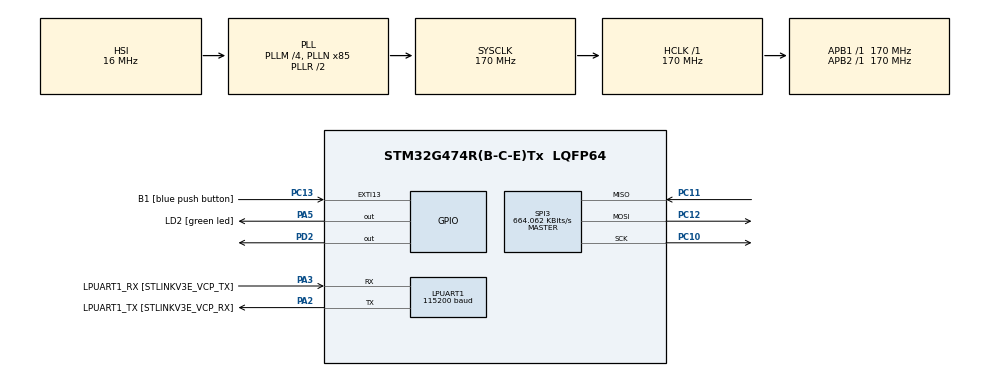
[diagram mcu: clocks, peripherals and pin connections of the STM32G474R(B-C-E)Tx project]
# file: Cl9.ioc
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LPUART1.BaudRate=115200
LPUART1.WordLength=UART_WORDLENGTH_8B
Mcu.Family=STM32G4
Mcu.Name=STM32G474R(B-C-E)Tx
Mcu.Package=LQFP64
NVIC.EXTI15_10_IRQn=true\:0\:0\:false\:false\:true\:true\:true\:true
NVIC.PriorityGroup=NVIC_PRIORITYGROUP_4
NVIC.SPI3_IRQn=true\:0\:0\:false\:false\:true\:true\:true\:true
PA13.GPIO_Label=T_SWDIO
PA13.Mode=Serial_Wire
PA13.Signal=SYS_JTMS-SWDIO
PA14.GPIO_Label=T_SWCLK
PA14.Mode=Serial_Wire
PA14.Signal=SYS_JTCK-SWCLK
PA2.GPIO_Label=LPUART1_TX [STLINKV3E_VCP_RX]
PA2.Mode=Asynchronous
PA2.Signal=LPUART1_TX
PA3.GPIO_Label=LPUART1_RX [STLINKV3E_VCP_TX]
PA3.Mode=Asynchronous
PA3.Signal=LPUART1_RX
PA5.GPIO_Label=LD2 [green led]
PA5.Signal=GPIO_Output
PB3.GPIO_Label=T_SWO
PB3.Signal=SYS_JTDO-SWO
PC10.Mode=Full_Duplex_Master
PC10.Signal=SPI3_SCK
PC11.Mode=Full_Duplex_Master
PC11.Signal=SPI3_MISO
PC12.Mode=Full_Duplex_Master
PC12.Signal=SPI3_MOSI
PC13.GPIO_Label=B1 [blue push button]
PC13.Signal=GPXTI13
PC14-OSC32_IN.Mode=LSE-External-Oscillator
PC14-OSC32_IN.Signal=RCC_OSC32_IN
PC15-OSC32_OUT.Mode=LSE-External-Oscillator
PC15-OSC32_OUT.Signal=RCC_OSC32_OUT
PD2.PinState=GPIO_PIN_SET
PD2.Signal=GPIO_Output
PF0-OSC_IN.Mode=HSE-External-Oscillator
PF0-OSC_IN.Signal=RCC_OSC_IN
PF1-OSC_OUT.Mode=HSE-External-Oscillator
PF1-OSC_OUT.Signal=RCC_OSC_OUT
ProjectManager.HeapSize=0x200
ProjectManager.StackSize=0x400
ProjectManager.TargetToolchain=STM32CubeIDE
RCC.ADC12Freq_Value=170000000
RCC.ADC345Freq_Value=170000000
RCC.AHBFreq_Value=170000000
RCC.APB1Freq_Value=170000000
RCC.APB1TimFreq_Value=170000000
RCC.APB2Freq_Value=170000000
RCC.APB2TimFreq_Value=170000000
RCC.CortexFreq_Value=170000000
RCC.EXTERNAL_CLOCK_VALUE=12288000
RCC.HCLKFreq_Value=170000000
RCC.HSE_VALUE=24000000
RCC.HSI48_VALUE=48000000
RCC.HSI_VALUE=16000000
RCC.PLLM=RCC_PLLM_DIV4
RCC.PLLN=85
RCC.RTCClockSelection=RCC_RTCCLKSOURCE_LSE
RCC.SYSCLKFreq_VALUE=170000000
RCC.SYSCLKSource=RCC_SYSCLKSOURCE_PLLCLK
RCC.USBFreq_Value=170000000
RCC.VCOOutputFreq_Value=340000000
SPI3.BaudRatePrescaler=SPI_BAUDRATEPRESCALER_256
SPI3.CLKPhase=SPI_PHASE_1EDGE
SPI3.CLKPolarity=SPI_POLARITY_LOW
SPI3.CalculateBaudRate=664.062 KBits/s
SPI3.DataSize=SPI_DATASIZE_8BIT
SPI3.Direction=SPI_DIRECTION_2LINES
SPI3.Mode=SPI_MODE_MASTER
SPI3.VirtualType=VM_MASTER
VP_SYS_VS_DBSignals.Mode=DisableDeadBatterySignals
board=NUCLEO-G474RE

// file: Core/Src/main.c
/* USER CODE BEGIN Header */
/**
  ******************************************************************************
  * @file           : main.c
  * @brief          : Main program body
  ******************************************************************************
  * @attention
  *
  * Copyright (c) 2024 STMicroelectronics.
  * All rights reserved.
  *
  * This software is licensed under terms that can be found in the LICENSE file
  * in the root directory of this software component.
  * If no LICENSE file comes with this software, it is provided AS-IS.
  *
  ******************************************************************************
  */
/* USER CODE END Header */
#include "main.h"

UART_HandleTypeDef hlpuart1;

SPI_HandleTypeDef hspi3;

/* USER CODE BEGIN PV */
uint8_t SPIRx[10];
uint8_t SPITx[10];
/* USER CODE END PV */

void SystemClock_Config(void);
static void MX_GPIO_Init(void);
static void MX_LPUART1_UART_Init(void);
static void MX_SPI3_Init(void);

int main(void)
{

  /* MCU Configuration--------------------------------------------------------*/

  /* Reset of all peripherals, Initializes the Flash interface and the Systick. */
  HAL_Init();

  /* Configure the system clock */
  SystemClock_Config();

  /* Initialize all configured peripherals */
  MX_GPIO_Init();
  MX_LPUART1_UART_Init();
  MX_SPI3_Init();
  /* USER CODE BEGIN 2 */
  SPITxRx_Setup();

  /* USER CODE END 2 */

  /* Infinite loop */
  while (1)
  {

    /* USER CODE BEGIN 3 */
	  SPITxRx_readIO();
  }
  /* USER CODE END 3 */
}

void SystemClock_Config(void)
{
  RCC_OscInitTypeDef RCC_OscInitStruct = {0};
  RCC_ClkInitTypeDef RCC_ClkInitStruct = {0};

  /** Configure the main internal regulator output voltage
  */
  HAL_PWREx_ControlVoltageScaling(PWR_REGULATOR_VOLTAGE_SCALE1_BOOST);

  /** Initializes the RCC Oscillators according to the specified parameters
  * in the RCC_OscInitTypeDef structure.
  */
  RCC_OscInitStruct.OscillatorType = RCC_OSCILLATORTYPE_HSI;
  RCC_OscInitStruct.HSIState = RCC_HSI_ON;
  RCC_OscInitStruct.HSICalibrationValue = RCC_HSICALIBRATION_DEFAULT;
  RCC_OscInitStruct.PLL.PLLState = RCC_PLL_ON;
  RCC_OscInitStruct.PLL.PLLSource = RCC_PLLSOURCE_HSI;
  RCC_OscInitStruct.PLL.PLLM = RCC_PLLM_DIV4;
  RCC_OscInitStruct.PLL.PLLN = 85;
  RCC_OscInitStruct.PLL.PLLP = RCC_PLLP_DIV2;
  RCC_OscInitStruct.PLL.PLLQ = RCC_PLLQ_DIV2;
  RCC_OscInitStruct.PLL.PLLR = RCC_PLLR_DIV2;
  if (HAL_RCC_OscConfig(&RCC_OscInitStruct) != HAL_OK)
  {
    Error_Handler();
  }

  /** Initializes the CPU, AHB and APB buses clocks
  */
  RCC_ClkInitStruct.ClockType = RCC_CLOCKTYPE_HCLK|RCC_CLOCKTYPE_SYSCLK
                              |RCC_CLOCKTYPE_PCLK1|RCC_CLOCKTYPE_PCLK2;
  RCC_ClkInitStruct.SYSCLKSource = RCC_SYSCLKSOURCE_PLLCLK;
  RCC_ClkInitStruct.AHBCLKDivider = RCC_SYSCLK_DIV1;
  RCC_ClkInitStruct.APB1CLKDivider = RCC_HCLK_DIV1;
  RCC_ClkInitStruct.APB2CLKDivider = RCC_HCLK_DIV1;

  if (HAL_RCC_ClockConfig(&RCC_ClkInitStruct, FLASH_LATENCY_4) != HAL_OK)
  {
    Error_Handler();
  }
}

static void MX_LPUART1_UART_Init(void)
{

  hlpuart1.Instance = LPUART1;
  hlpuart1.Init.BaudRate = 115200;
  hlpuart1.Init.WordLength = UART_WORDLENGTH_8B;
  hlpuart1.Init.StopBits = UART_STOPBITS_1;
  hlpuart1.Init.Parity = UART_PARITY_NONE;
  hlpuart1.Init.Mode = UART_MODE_TX_RX;
  hlpuart1.Init.HwFlowCtl = UART_HWCONTROL_NONE;
  hlpuart1.Init.OneBitSampling = UART_ONE_BIT_SAMPLE_DISABLE;
  hlpuart1.Init.ClockPrescaler = UART_PRESCALER_DIV1;
  hlpuart1.AdvancedInit.AdvFeatureInit = UART_ADVFEATURE_NO_INIT;
  if (HAL_UART_Init(&hlpuart1) != HAL_OK)
  {
    Error_Handler();
  }
  if (HAL_UARTEx_SetTxFifoThreshold(&hlpuart1, UART_TXFIFO_THRESHOLD_1_8) != HAL_OK)
  {
    Error_Handler();
  }
  if (HAL_UARTEx_SetRxFifoThreshold(&hlpuart1, UART_RXFIFO_THRESHOLD_1_8) != HAL_OK)
  {
    Error_Handler();
  }
  if (HAL_UARTEx_DisableFifoMode(&hlpuart1) != HAL_OK)
  {
    Error_Handler();
  }

}

static void MX_SPI3_Init(void)
{

  /* SPI3 parameter configuration*/
  hspi3.Instance = SPI3;
  hspi3.Init.Mode = SPI_MODE_MASTER;
  hspi3.Init.Direction = SPI_DIRECTION_2LINES;
  hspi3.Init.DataSize = SPI_DATASIZE_8BIT;
  hspi3.Init.CLKPolarity = SPI_POLARITY_LOW;
  hspi3.Init.CLKPhase = SPI_PHASE_1EDGE;
  hspi3.Init.NSS = SPI_NSS_SOFT;
  hspi3.Init.BaudRatePrescaler = SPI_BAUDRATEPRESCALER_256;
  hspi3.Init.FirstBit = SPI_FIRSTBIT_MSB;
  hspi3.Init.TIMode = SPI_TIMODE_DISABLE;
  hspi3.Init.CRCCalculation = SPI_CRCCALCULATION_DISABLE;
  hspi3.Init.CRCPolynomial = 7;
  hspi3.Init.CRCLength = SPI_CRC_LENGTH_DATASIZE;
  hspi3.Init.NSSPMode = SPI_NSS_PULSE_ENABLE;
  if (HAL_SPI_Init(&hspi3) != HAL_OK)
  {
    Error_Handler();
  }

}

static void MX_GPIO_Init(void)
{
  GPIO_InitTypeDef GPIO_InitStruct = {0};

  /* GPIO Ports Clock Enable */
  __HAL_RCC_GPIOC_CLK_ENABLE();
  __HAL_RCC_GPIOF_CLK_ENABLE();
  __HAL_RCC_GPIOA_CLK_ENABLE();
  __HAL_RCC_GPIOD_CLK_ENABLE();
  __HAL_RCC_GPIOB_CLK_ENABLE();

  /*Configure GPIO pin Output Level */
  HAL_GPIO_WritePin(LD2_GPIO_Port, LD2_Pin, GPIO_PIN_RESET);

  /*Configure GPIO pin Output Level */
  HAL_GPIO_WritePin(GPIOD, GPIO_PIN_2, GPIO_PIN_SET);

  /*Configure GPIO pin : B1_Pin */
  GPIO_InitStruct.Pin = B1_Pin;
  GPIO_InitStruct.Mode = GPIO_MODE_IT_RISING;
  GPIO_InitStruct.Pull = GPIO_NOPULL;
  HAL_GPIO_Init(B1_GPIO_Port, &GPIO_InitStruct);

  /*Configure GPIO pin : LD2_Pin */
  GPIO_InitStruct.Pin = LD2_Pin;
  GPIO_InitStruct.Mode = GPIO_MODE_OUTPUT_PP;
  GPIO_InitStruct.Pull = GPIO_NOPULL;
  GPIO_InitStruct.Speed = GPIO_SPEED_FREQ_LOW;
  HAL_GPIO_Init(LD2_GPIO_Port, &GPIO_InitStruct);

  /*Configure GPIO pin : PD2 */
  GPIO_InitStruct.Pin = GPIO_PIN_2;
  GPIO_InitStruct.Mode = GPIO_MODE_OUTPUT_PP;
  GPIO_InitStruct.Pull = GPIO_NOPULL;
  GPIO_InitStruct.Speed = GPIO_SPEED_FREQ_LOW;
  HAL_GPIO_Init(GPIOD, &GPIO_InitStruct);

  /* EXTI interrupt init*/
  HAL_NVIC_SetPriority(EXTI15_10_IRQn, 0, 0);
  HAL_NVIC_EnableIRQ(EXTI15_10_IRQn);

}

/* USER CODE BEGIN 4 */
void SPITxRx_Setup()
{
//CS pulse
HAL_GPIO_WritePin(GPIOD, GPIO_PIN_2, 0); // CS Select
HAL_Delay(1);
HAL_GPIO_WritePin(GPIOD, GPIO_PIN_2, 1); // CS deSelect
HAL_Delay(1);
}
void SPITxRx_readIO()
{
if(HAL_GPIO_ReadPin(GPIOD,GPIO_PIN_2))
{
HAL_GPIO_WritePin(GPIOD, GPIO_PIN_2, 0); // CS Select
SPITx[0] = 0b01000001;
SPITx[1] = 0x12;
SPITx[2] = 0;
SPITx[3] = 0;
HAL_SPI_TransmitReceive_IT(&hspi3, SPITx, SPIRx, 4);
}
}
void HAL_SPI_TxRxCpltCallback(SPI_HandleTypeDef *hspi)
{
HAL_GPIO_WritePin(GPIOD, GPIO_PIN_2, 1); //CS dnSelect
}
/* USER CODE END 4 */

void Error_Handler(void)
{
  __disable_irq();
  while (1)
  {
  }
}
